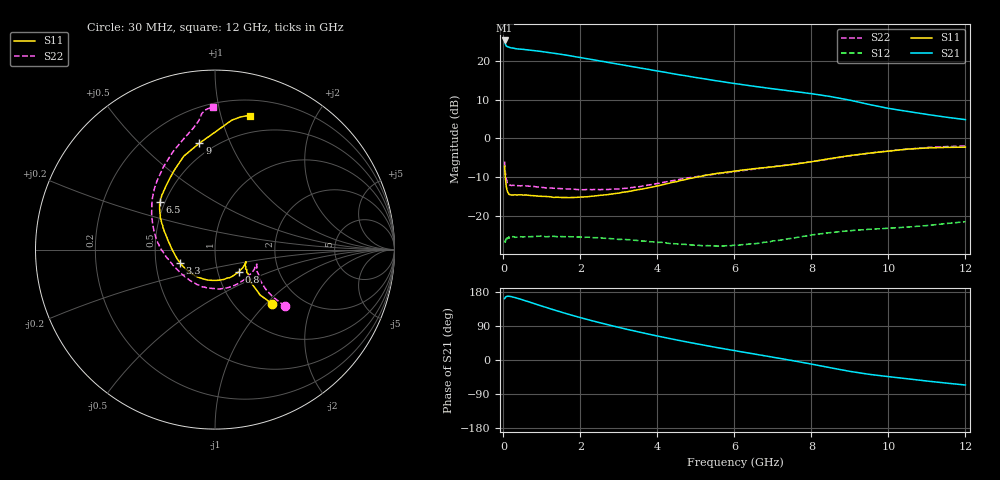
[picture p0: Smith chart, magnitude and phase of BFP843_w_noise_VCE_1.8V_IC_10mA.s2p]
! Infineon Technologies  Discrete & RF Semiconductors
! BFP843
! VCE =  1.8 V,  IC =  10 mA
! Common Emitter S-Parameters:  Aug 2013
# GHz  S  MA  R  50
!  f  S11  S21  S12  S22
! GHz  MAG  ANG  MAG  ANG  MAG  ANG  MAG  ANG
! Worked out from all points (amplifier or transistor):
!   103 points, 30 MHz to 12 GHz, reference 50 ohm
!   highest |S21| = 25.3 dB at 30 MHz (marker M1)
!   |S21| within 3 dB of that: start of sweep to 1.084 GHz
!   unconditionally stable (mu >= 1): 144.4 MHz to 10.9 GHz
!   at 400 MHz: K = 1.01, MAG = 23.5 dB, |S12| = -25.4 dB
!   at 3.7 GHz: K = 1.34, MAG = 18.8 dB, |S12| = -26.6 dB
!   at 12 GHz: K = 0.84, MSG = 13.2 dB, |S12| = -21.6 dB
!   lowest NFmin = 0.92 dB at 450 MHz
!   S11 on the Smith chart (normalised r, x): 30 MHz: 1.45, -1.08; 800 MHz: 1.26, -0.32; 3.3 GHz: 0.67, -0.10; 6.5 GHz: 0.47, +0.30; 9 GHz: 0.42, +0.77; 12 GHz: 0.34, +1.24
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0.03  0.4377 -43.5  18.44 162.0  0.0452 32.1  0.501 -38.9
0.04  0.3561 -45.2  17.22 163.2  0.0468 23.2  0.416 -39.3
0.05  0.3099 -43.8  16.56 165.6  0.0458 16.9  0.3615 -38.1
0.07  0.2449 -39.6  15.72 167.1  0.0505 9.5  0.3039 -34.0
0.13  0.1956 -28.9  15.17 168.5  0.0521 7.5  0.2548 -24.3
0.3  0.1863 -21.5  14.5 164.8  0.0525 3.1  0.2457 -20.2
0.8  0.1814 -42.5  13.62 148.8  0.0538 -1.0  0.2384 -38.6
1.1  0.1774 -57.1  13.02 139.0  0.0534 -3.1  0.229 -52.5
1.4  0.1733 -72.9  12.41 129.5  0.0536 -4.5  0.2253 -65.8
1.7  0.1717 -88.5  11.76 120.4  0.0536 -5.7  0.2208 -79.3
2.1  0.1751 -108.5  10.86 109.1  0.0525 -7.8  0.2168 -97.1
2.7  0.1875 -135.4  9.621 93.4  0.0508 -10.4  0.218 -121.3
3.3  0.2078 -159.4  8.545 78.9  0.0489 -12.3  0.2304 -143.9
4.1  0.2489 175.2  7.278 61.2  0.0453 -12.4  0.2664 -168.7
5  0.3142 157.1  6.119 43.1  0.0415 -9.5  0.3194 173.6
6.1  0.3828 143.7  5.043 23.1  0.0416 -0.6  0.3768 157.4
6.5  0.4053 139.2  4.722 16.1  0.0435 2.0  0.3992 151.8
7.6  0.4652 123.3  4.012 -3.3  0.0522 5.9  0.4696 136.7
8.5  0.5489 108.5  3.468 -20.5  0.0606 2.9  0.5433 121.9
9  0.5997 98.3  3.118 -30.0  0.0641 -0.1  0.5944 113.1
10.5  0.7263 82.7  2.23 -49.6  0.0713 -6.4  0.7251 97.1
12  0.7699 75.3  1.747 -66.0  0.0836 -13.2  0.7961 90.9
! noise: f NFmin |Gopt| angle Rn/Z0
0.45  0.92  0.06  5  0.02
0.9  0.93  0.06  16  0.04
1.5  0.95  0.06  26  0.1
1.9  0.97  0.06  34  0.18
2.4  1  0.04  44  0.24
3.5  1.06  0.02  59  0.27
5.5  1.19  0.17  -124  0.32
10  1.82  0.5  -67  0.43
